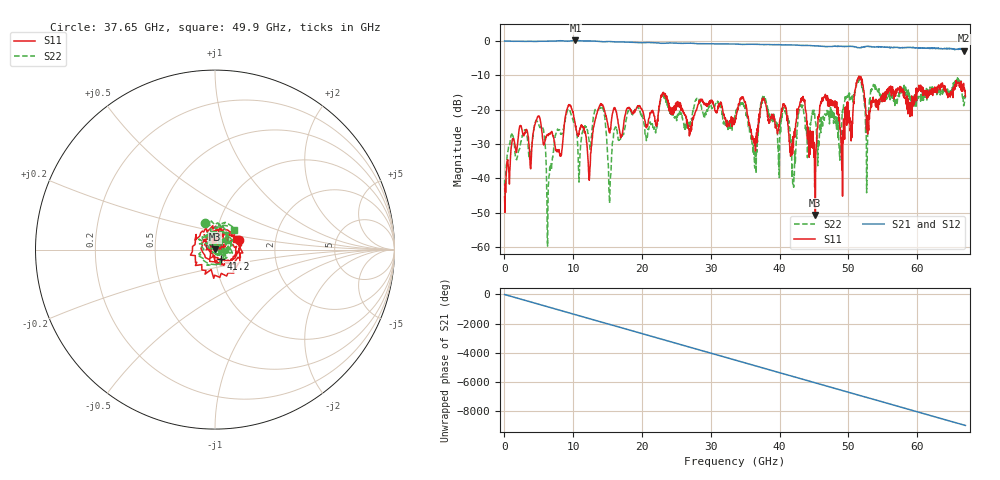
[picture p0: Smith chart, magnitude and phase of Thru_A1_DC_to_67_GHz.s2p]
#  HZ  S  MA  R  50.00
! Rohde & Schwarz ZVA67 4Ports - Version 4.11 - 1305.7002k04 SN: 101051
! Date: 2023-05-31 13:58:42
! Measurements: S11 S21 S12 S22
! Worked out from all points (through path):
!   1340 points, 50 MHz to 67 GHz, reference 50 ohm
!   highest |S21| = 0.14 dB at 10.35 GHz (marker M1); lowest = -2.9 dB at 66.8 GHz (marker M2)
!   group delay of S21, straight-line fit = 373 ps
!   lowest |S11| = -50.6 dB at 45.2 GHz (marker M3), VSWR 1.01, Z = 50.2 + j0.241 ohm
!   |S11| at or under -10 dB: start of sweep to end of sweep
!   |S22| runs from -59.7 to -10.7 dB; largest |S21 - S12| = 0.27
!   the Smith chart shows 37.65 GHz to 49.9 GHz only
!   S11 on the Smith chart (normalised r, x): 37.65 GHz: 1.30, +0.14; 41.2 GHz: 1.06, -0.11; 49.9 GHz: 1.25, +0.15
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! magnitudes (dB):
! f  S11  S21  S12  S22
! 50 MHz  -45.3  0.0  0.0  -40.4
! 2.35 GHz  -24.6  -0.1  -0.1  -30.1
! 5.5 GHz  -26.8  -0.1  -0.1  -25.2
! 6.45 GHz  -27.0  -0.1  -0.1  -41.2
! 10.35 GHz  -24.9  0.1  0.2  -25.0
! 11.25 GHz  -24.7  0.0  0.0  -27.3
! 12.4 GHz  -39.3  0.0  0.0  -30.0
! 14.2 GHz  -18.5  -0.2  -0.2  -19.3
! 15.3 GHz  -26.6  -0.2  -0.2  -47.2
! 22.4 GHz  -20.8  -0.6  -0.6  -21.2
! 33.55 GHz  -23.6  -0.9  -0.9  -21.5
! 36.4 GHz  -30.4  -0.9  -1.0  -37.0
! 37.65 GHz  -16.8  -1.1  -1.1  -16.1
! 41.2 GHz  -24.4  -1.2  -1.2  -22.5
! 42 GHz  -30.9  -1.2  -1.2  -41.5
! 44.7 GHz  -28.7  -1.4  -1.4  -21.0
! 45.2 GHz  -50.6  -1.4  -1.4  -23.2
! 46.45 GHz  -16.2  -1.6  -1.6  -22.7
! 49.9 GHz  -17.7  -1.6  -1.6  -16.4
! 55.85 GHz  -14.5  -1.9  -1.9  -16.2
! 66.8 GHz  -13.8  -2.9  -2.8  -18.4
! 67 GHz  -16.2  -2.7  -2.6  -17.0
